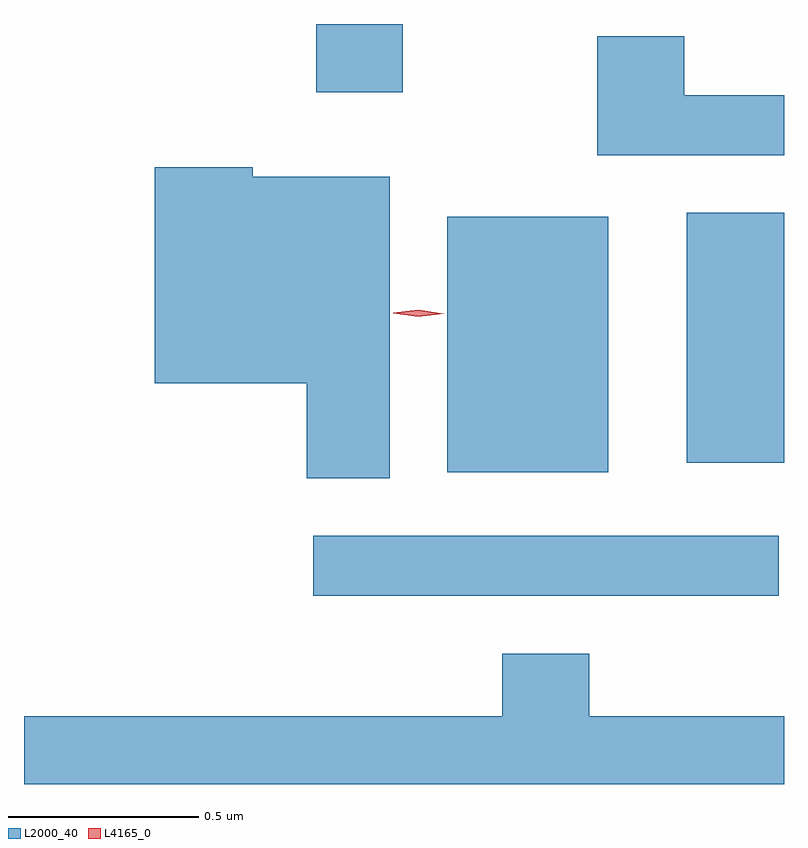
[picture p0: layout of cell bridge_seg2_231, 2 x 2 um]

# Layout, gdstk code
import gdstk
lib = gdstk.Library(unit=1e-6, precision=1e-09)
def R(c, l, rs):  # rectangles x0, y0, x1, y1
    for r in rs: c.add(gdstk.rectangle(r[:2], r[2:], *l))
def P(c, l, *ps):  # polygons
    for p in ps: c.add(gdstk.Polygon(p, *l))
L2000_40 = (2000, 40)
L4165_0 = (4165, 0)

bridge_seg2_231 = lib.new_cell('bridge_seg2_231')
R(bridge_seg2_231, L2000_40, [(610.843,1077.761,612.068,1077.919), (611.196,1078.086,611.619,1078.759), (611.826,1078.111,612.082,1078.769), (610.851,1079.086,611.079,1079.266)])
P(bridge_seg2_231, L2000_40, [(612.082,1079.079),(611.819,1079.079),(611.819,1079.234),(611.591,1079.234),(611.591,1078.921),(612.082,1078.921)],
  [(611.044,1078.864),(610.684,1078.864),(610.684,1078.889),(610.426,1078.889),(610.426,1078.321),(610.826,1078.321),(610.826,1078.071),(611.044,1078.071)],
  [(611.341,1077.609),(611.341,1077.444),(610.082,1077.444),(610.082,1077.266),(612.082,1077.266),(612.082,1077.444),(611.569,1077.444),(611.569,1077.609)])
P(bridge_seg2_231, L4165_0, [(611.12,1078.495),(611.054,1078.505),(611.054,1078.505),(611.054,1078.506),(611.12,1078.514),(611.186,1078.504),(611.186,1078.504),(611.186,1078.504)])

lib.write_gds('bridge_seg2_231.gds')
